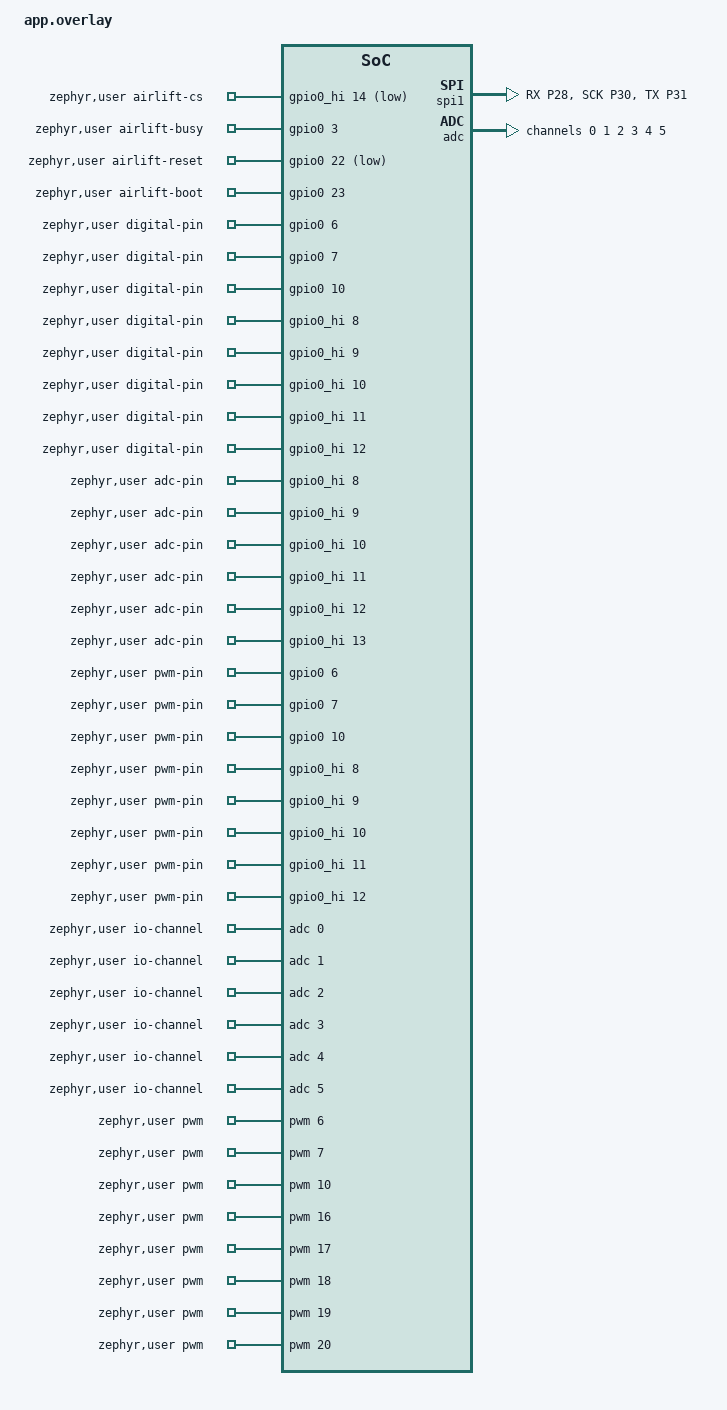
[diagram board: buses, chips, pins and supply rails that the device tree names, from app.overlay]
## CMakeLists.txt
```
# SPDX-License-Identifier: MIT
cmake_minimum_required(VERSION 3.28.0)
list(APPEND BOARD_ROOT "${CMAKE_CURRENT_SOURCE_DIR}/../zephyr")
find_package(Zephyr REQUIRED HINTS $ENV{ZEPHYR_BASE})
project(fruit_jam_smallvm LANGUAGES C CXX ASM)
if(NOT CONFIG_BOARD_ADAFRUIT_FRUIT_JAM_RP2350B_M33_0)
  message(FATAL_ERROR "This app is restricted to adafruit_fruit_jam/rp2350b/m33_0")
endif()
if(NOT SMALLVM_SOURCE_DIR OR NOT EXISTS "${SMALLVM_SOURCE_DIR}/provenance.json")
  message(FATAL_ERROR "Set SMALLVM_SOURCE_DIR to the verified v417 snapshot")
endif()
if(NOT FRUIT_JAM_ARDUINO_DIR OR NOT EXISTS "${FRUIT_JAM_ARDUINO_DIR}/fruitjam-provenance.json")
  message(FATAL_ERROR "Prepare the isolated Arduino module with tools/prepare_fruit_jam_arduino.py")
endif()
set(vm_root "${CMAKE_CURRENT_BINARY_DIR}/smallvm")
if(NOT IDE_SOURCE_DIR)
  message(FATAL_ERROR "Set IDE_SOURCE_DIR to the verified MicroBlocks 2.5.8 assets")
endif()
set(web_root "${CMAKE_CURRENT_BINARY_DIR}/web-fruit-jam")
# Optional verified touch-editor cache; no network access during packaging.
set(mobile_args)
if(MOBILE_EDITOR_SOURCE_DIR)
  list(APPEND mobile_args --mobile-source "${MOBILE_EDITOR_SOURCE_DIR}")
endif()
execute_process(COMMAND ${Python3_EXECUTABLE}
  ${CMAKE_CURRENT_SOURCE_DIR}/../../../tools/package_fruit_jam_ide.py
  ${IDE_SOURCE_DIR} ${web_root} ${mobile_args} COMMAND_ERROR_IS_FATAL ANY)
execute_process(COMMAND ${Python3_EXECUTABLE}
  ${CMAKE_CURRENT_SOURCE_DIR}/../../../tools/prepare_smallvm.py
  ${SMALLVM_SOURCE_DIR} ${vm_root} --strict-digital-arity
  COMMAND_ERROR_IS_FATAL ANY)
execute_process(COMMAND ${Python3_EXECUTABLE}
  ${CMAKE_CURRENT_SOURCE_DIR}/../../../tools/prepare_fruit_jam_runtime.py ${vm_root}
  COMMAND_ERROR_IS_FATAL ANY)
target_include_directories(app PRIVATE ${vm_root} ${vm_root}/vm src)
target_compile_definitions(app PRIVATE SMALLVM_ZEPHYR=1)
target_sources(app PRIVATE src/main.cpp src/platform.c src/transport.c
  src/io.cpp src/generic_primitives.c src/program_store.c src/sht4x.c src/pio_pixels.c
  src/airlift.c src/nina_protocol.c src/wifi_control.c
  src/nina_socket_protocol.c src/airlift_socket.c src/http_protocol.c src/network_server.c
  ${web_root}/assets.c ${web_root}/assets.S
  ${vm_root}/vm/interp.c ${vm_root}/vm/runtime.c ${vm_root}/vm/mem.c
  ${vm_root}/vm/persist.c ${vm_root}/vm/dataPrims.c ${vm_root}/vm/varPrims.c
  ${vm_root}/vm/tinyJSON.c ${vm_root}/vm/mbFont.c ${vm_root}/vm/boardHooks.c)
```

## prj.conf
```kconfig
CONFIG_ARDUINO_API=y
CONFIG_ARDUINO_ENTRY=n
CONFIG_CPP=y
CONFIG_REQUIRES_FULL_LIBC=y
CONFIG_GPIO=y
CONFIG_ADC=y
CONFIG_PWM=y
CONFIG_I2C=y
CONFIG_SPI=y
CONFIG_MAIN_STACK_SIZE=8192
CONFIG_HEAP_MEM_POOL_SIZE=16384
CONFIG_FLASH=y
CONFIG_FLASH_MAP=y
CONFIG_FLASH_PAGE_LAYOUT=y
CONFIG_CRC=y
CONFIG_SERIAL=y
CONFIG_UART_LINE_CTRL=y
CONFIG_USB_DEVICE_STACK_NEXT=y
CONFIG_CDC_ACM_SERIAL_INITIALIZE_AT_BOOT=y
CONFIG_CDC_ACM_SERIAL_PID=0x0004
CONFIG_CDC_ACM_SERIAL_PRODUCT_STRING="MicroBlocks Fruit Jam experimental"
# The binary VM stream has one owner. Diagnostics use debugger-visible status.
CONFIG_CONSOLE=n
CONFIG_UART_CONSOLE=n
CONFIG_PRINTK=n
CONFIG_LOG=n
CONFIG_SHELL=n
CONFIG_BOOT_BANNER=n
CONFIG_SYSTEM_WORKQUEUE_STACK_SIZE=2048
```

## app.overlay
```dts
/* SPDX-License-Identifier: MIT */
#include <zephyr/dt-bindings/adc/adc.h>
#include <zephyr/dt-bindings/pwm/pwm.h>
#include <zephyr/dt-bindings/gpio/gpio.h>
/ {
	zephyr,user {
		/* Factory AirLift only; manual CS allows its BUSY handshake before clocks. */
		airlift-cs-gpios = <&gpio0_hi 14 GPIO_ACTIVE_LOW>;
		airlift-busy-gpios = <&gpio0 3 GPIO_ACTIVE_HIGH>;
		airlift-reset-gpios = <&gpio0 22 GPIO_ACTIVE_LOW>;
		airlift-boot-gpios = <&gpio0 23 GPIO_ACTIVE_HIGH>;
		/* Safe extension D0..D8. High-bank GPIO40..45 use port-relative 8..13. */
		digital-pin-gpios = <&gpio0 6 0>, <&gpio0 7 0>, <&gpio0 10 0>,
			<&gpio0_hi 8 0>, <&gpio0_hi 9 0>, <&gpio0_hi 10 0>,
			<&gpio0_hi 11 0>, <&gpio0_hi 12 0>, <&gpio0_hi 13 0>;
		adc-pin-gpios = <&gpio0_hi 8 0>, <&gpio0_hi 9 0>, <&gpio0_hi 10 0>,
			<&gpio0_hi 11 0>, <&gpio0_hi 12 0>, <&gpio0_hi 13 0>;
		io-channels = <&adc 0>, <&adc 1>, <&adc 2>, <&adc 3>, <&adc 4>, <&adc 5>;
		pwm-pin-gpios = <&gpio0 6 0>, <&gpio0 7 0>, <&gpio0 10 0>,
			<&gpio0_hi 8 0>, <&gpio0_hi 9 0>, <&gpio0_hi 10 0>,
			<&gpio0_hi 11 0>, <&gpio0_hi 12 0>, <&gpio0_hi 13 0>;
		pwms = <&pwm 6 PWM_USEC(1000) PWM_POLARITY_NORMAL>,
			<&pwm 7 PWM_USEC(1000) PWM_POLARITY_NORMAL>,
			<&pwm 10 PWM_USEC(1000) PWM_POLARITY_NORMAL>,
			<&pwm 16 PWM_USEC(1000) PWM_POLARITY_NORMAL>,
			<&pwm 17 PWM_USEC(1000) PWM_POLARITY_NORMAL>,
			<&pwm 18 PWM_USEC(1000) PWM_POLARITY_NORMAL>,
			<&pwm 19 PWM_USEC(1000) PWM_POLARITY_NORMAL>,
			<&pwm 20 PWM_USEC(1000) PWM_POLARITY_NORMAL>,
			<&pwm 21 PWM_USEC(1000) PWM_POLARITY_NORMAL>;
	};
};
&pinctrl {
	airlift_spi1: airlift_spi1 {
		rx { pinmux = <SPI1_RX_P28>; input-enable; input-schmitt-enable; };
		tx-clock { pinmux = <SPI1_SCK_P30>, <SPI1_TX_P31>; };
	};
};
&spi1 {
	pinctrl-0 = <&airlift_spi1>;
	pinctrl-names = "default";
	status = "okay";
};
&zephyr_udc0 {
	mb_cdc: mb_cdc { compatible = "zephyr,cdc-acm-uart"; };
};
&adc {
	#address-cells = <1>;
	#size-cells = <0>;
	channel@0 { reg = <0>; zephyr,gain = "ADC_GAIN_1"; zephyr,reference = "ADC_REF_VDD_1"; zephyr,acquisition-time = <ADC_ACQ_TIME_DEFAULT>; zephyr,resolution = <12>; };
	channel@1 { reg = <1>; zephyr,gain = "ADC_GAIN_1"; zephyr,reference = "ADC_REF_VDD_1"; zephyr,acquisition-time = <ADC_ACQ_TIME_DEFAULT>; zephyr,resolution = <12>; };
	channel@2 { reg = <2>; zephyr,gain = "ADC_GAIN_1"; zephyr,reference = "ADC_REF_VDD_1"; zephyr,acquisition-time = <ADC_ACQ_TIME_DEFAULT>; zephyr,resolution = <12>; };
	channel@3 { reg = <3>; zephyr,gain = "ADC_GAIN_1"; zephyr,reference = "ADC_REF_VDD_1"; zephyr,acquisition-time = <ADC_ACQ_TIME_DEFAULT>; zephyr,resolution = <12>; };
	channel@4 { reg = <4>; zephyr,gain = "ADC_GAIN_1"; zephyr,reference = "ADC_REF_VDD_1"; zephyr,acquisition-time = <ADC_ACQ_TIME_DEFAULT>; zephyr,resolution = <12>; };
	channel@5 { reg = <5>; zephyr,gain = "ADC_GAIN_1"; zephyr,reference = "ADC_REF_VDD_1"; zephyr,acquisition-time = <ADC_ACQ_TIME_DEFAULT>; zephyr,resolution = <12>; };
};
```

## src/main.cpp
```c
// SPDX-License-Identifier: MPL-2.0
#include <Arduino.h>
#include "vm/interp.h"
#include "vm/persist.h"
#include "fruit_jam.h"

volatile int fruit_jam_status;

int main(void)
{
    hardwareInit();
    memInit();
    primsInit();
    fruit_jam_status = mb_store_load();
    restoreScripts();
    startAll();
    int err = fj_transport_init();
    if (err) { fruit_jam_status = err; return err; }
    for (;;) {
        fj_transport_poll();
        vmSlice(16);
        mb_store_poll();
        k_sleep(K_MSEC(1));
    }
}
```

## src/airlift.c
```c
/* SPDX-License-Identifier: MIT
 * Bounded AirLift identification and explicitly submitted WPA/DHCP setup.
 * Boot probes only retained identity/status/IP. No automatic join, scanning,
 * credential logging, UART or firmware upload.
 * Framing reference and notices: nina_protocol.c and LICENSES.md. */
#include "airlift.h"
#include "fruit_jam.h"
#include "nina_protocol.h"
#include "wifi_control.h"
#include <zephyr/device.h>
#include <zephyr/drivers/gpio.h>
#include <zephyr/drivers/spi.h>
#include <zephyr/kernel.h>
#include <errno.h>
#include <stdio.h>
#include <string.h>

#define AIRLIFT DT_PATH(zephyr_user)
static const struct device *const bus=DEVICE_DT_GET(DT_NODELABEL(spi1));
static const struct gpio_dt_spec cs=GPIO_DT_SPEC_GET(AIRLIFT,airlift_cs_gpios);
static const struct gpio_dt_spec busy=GPIO_DT_SPEC_GET(AIRLIFT,airlift_busy_gpios);
static const struct gpio_dt_spec reset=GPIO_DT_SPEC_GET(AIRLIFT,airlift_reset_gpios);
static const struct gpio_dt_spec boot=GPIO_DT_SPEC_GET(AIRLIFT,airlift_boot_gpios);
static const struct spi_config config={
    .frequency=1000000,.operation=SPI_OP_MODE_MASTER|SPI_WORD_SET(8)|SPI_TRANSFER_MSB,.slave=0,
};
K_MUTEX_DEFINE(state_lock);
K_MUTEX_DEFINE(spi_lock);
K_SEM_DEFINE(request_sem,0,1);
static struct {
    unsigned state,generation,queries,operation;
    int error,stage,busy_level,connection,disconnect_reason,reason_error;
    bool reset_requested;
    char version[32],mac[18];
    uint8_t ip[4],netmask[4],gateway[4];
} report;
static unsigned stale_error_recoveries;
static volatile uint32_t first_socket_failure;
uint32_t fj_airlift_socket_failure(void){return first_socket_failure;}
static struct { uint8_t ssid[32],key[64]; size_t sn,kn; } pending;

static int wait_busy_for(int level,unsigned timeout_ms)
{
    int64_t deadline=k_uptime_get()+timeout_ms;
    do {
        int actual=gpio_pin_get_dt(&busy);
        if(actual<0)return actual;
        if(actual==level)return 0;
        k_sleep(K_MSEC(1));
    }while(k_uptime_get()<deadline);
    return -ETIMEDOUT;
}
static int select_device_for(unsigned timeout_ms)
{
    int err=wait_busy_for(0,timeout_ms);
    if(err)return err;
    if((err=gpio_pin_set_dt(&cs,1)))return err;
    err=wait_busy_for(1,1000);
    if(err)gpio_pin_set_dt(&cs,0);
    return err;
}
static int select_device(void){return select_device_for(1000);}
static int read_byte(void *unused,uint8_t *value)
{
    (void)unused;
    uint8_t dummy=0;
    const struct spi_buf tx={.buf=&dummy,.len=1};
    struct spi_buf rx={.buf=value,.len=1};
    const struct spi_buf_set txs={.buffers=&tx,.count=1},rxs={.buffers=&rx,.count=1};
    return spi_transceive(bus,&config,&txs,&rxs);
}
static void retry_pause(void *unused){(void)unused;k_sleep(K_MSEC(10));}
static int read_bytes(void *unused,uint8_t *dst,size_t size)
{
    (void)unused;if(!size)return 0;
    struct spi_buf buffer={.buf=dst,.len=size};
    const struct spi_buf_set buffers={.buffers=&buffer,.count=1};
    return spi_read(bus,&config,&buffers);
}
static int exchange_unlocked(uint8_t command,uint8_t *frame,size_t count,
                    uint8_t **dst,const size_t *capacity,size_t *length,unsigned parameters)
{
    int err=select_device();
    if(!err){
        const struct spi_buf buffer={.buf=frame,.len=count};
        const struct spi_buf_set buffers={.buffers=&buffer,.count=1};
        uint8_t observed[4]={0};
        bool version_probe=command==0x37&&count==4;
        if(version_probe){
            struct spi_buf receive={.buf=observed,.len=sizeof(observed)};
            const struct spi_buf_set receives={.buffers=&receive,.count=1};
            err=spi_transceive(bus,&config,&buffers,&receives);
        }else err=spi_write(bus,&config,&buffers);
        int released=gpio_pin_set_dt(&cs,0);
        if(!err)err=released;
        /* Only a read-only version probe may recover an exact stale error
         * reply consumed during its request. No write or join is replayed. */
        if(!err&&version_probe&&!memcmp(observed,(uint8_t[]){0xef,0,0xee,0},4)){
            ++stale_error_recoveries;
            err=select_device();
            if(!err){
                err=spi_write(bus,&config,&buffers);
                released=gpio_pin_set_dt(&cs,0);if(!err)err=released;
            }
        }
    }
    /* A connect frame never survives the write or any error. */
    fj_secure_clear(frame,count);
    if(err)return err;
    if((err=select_device()))return err;
    const struct fj_nina_reader io={.byte=read_byte,.retry_pause=retry_pause};
    err=fj_nina_read_reply_params(&io,command,dst,capacity,length,parameters);
    int released=gpio_pin_set_dt(&cs,0);
    return err?err:released;
}
static int exchange(uint8_t command,uint8_t *frame,size_t count,
                    uint8_t **dst,const size_t *capacity,size_t *length,unsigned parameters)
{
    k_mutex_lock(&spi_lock,K_FOREVER);
    int err=exchange_unlocked(command,frame,count,dst,capacity,length,parameters);
    k_mutex_unlock(&spi_lock);return err;
}
int fj_airlift_socket_command(uint8_t command,const struct fj_nina_parameter *params,
                              unsigned count,uint8_t *dst,size_t capacity,size_t *length)
{
    uint8_t frame[2060];int n=fj_nina_socket_frame(command,params,count,frame,sizeof(frame));
    if(n<0)return n;
    k_mutex_lock(&spi_lock,K_FOREVER);
    unsigned phase=1;int err=select_device();
    if(!err){
        phase=2;
        const struct spi_buf buffer={.buf=frame,.len=n};
        const struct spi_buf_set buffers={.buffers=&buffer,.count=1};
        err=spi_write(bus,&config,&buffers);
        int released=gpio_pin_set_dt(&cs,0);if(!err)err=released;
    }
    if(!err){phase=3;err=select_device_for(command==0x44?10000:1000);}
    if(!err){
        phase=4;
        const struct fj_nina_reader io={.byte=read_byte,.bytes=read_bytes,.retry_pause=retry_pause};
        err=fj_nina_socket_reply(&io,command,dst,capacity,length);
        int released=gpio_pin_set_dt(&cs,0);
        if(!err&&released){phase=5;err=released;}
    }
    if(err){
        if(!first_socket_failure)first_socket_failure=((uint32_t)(-err&255)<<16)|((uint32_t)command<<8)|phase;
        /* Restore framing with read-only probes, never replay a write/read
         * whose effects may already have occurred on the remote socket. */
        for(unsigned attempt=0;attempt<2;++attempt){
            uint8_t probe[]={0xe0,0x37,0,0xee},version[31];
            uint8_t *dest[]={version};const size_t cap[]={sizeof(version)};size_t got=0;
            if(!exchange_unlocked(0x37,probe,sizeof(probe),dest,cap,&got,1))break;
        }
    }
    k_mutex_unlock(&spi_lock);return err;
}
static int query(uint8_t command,uint8_t *dst,size_t capacity,size_t *length)
{
    uint8_t frame[8];int n=fj_nina_query_frame(command,frame,sizeof(frame));
    if(n<0)return n;
    uint8_t *destinations[]={dst};
    return exchange(command,frame,n,destinations,&capacity,length,1);
}
static int query_ip(uint8_t ip[4],uint8_t netmask[4],uint8_t gateway[4])
{
    uint8_t frame[8];int n=fj_nina_query_frame(0x21,frame,sizeof(frame));
    if(n<0)return n;
    uint8_t *dst[]={ip,netmask,gateway};const size_t capacity[]={4,4,4};size_t lengths[3]={0};
    int err=exchange(0x21,frame,n,dst,capacity,lengths,3);
    if(!err&&(lengths[0]!=4||lengths[1]!=4||lengths[2]!=4))err=-EPROTO;
    return err;
}
static bool valid_ip(const uint8_t ip[4])
{
    return ip[0]>0&&ip[0]<224&&ip[0]!=127&&!(ip[0]==169&&ip[1]==254);
}
static int prepare(bool reset_first)
{
    if(!device_is_ready(bus)||!gpio_is_ready_dt(&cs)||!gpio_is_ready_dt(&busy))return -ENODEV;
    int err=gpio_pin_configure_dt(&cs,GPIO_OUTPUT_INACTIVE);
    if(err)return err;
    if((err=gpio_pin_configure_dt(&busy,GPIO_INPUT)))return err;
    if(!reset_first)return 0;
    if(!gpio_is_ready_dt(&reset)||!gpio_is_ready_dt(&boot))return -ENODEV;
    /* C6 BOOT9 is GPIO23, shared with codec GPIO1: input only.
     * GPIO0 is RP2350 USBBOOT. Shared reset requires an idle codec. */
    if((err=gpio_pin_configure_dt(&boot,GPIO_INPUT|GPIO_PULL_UP)))return err;
    if((err=gpio_pin_configure_dt(&reset,GPIO_OUTPUT_INACTIVE)))return err;
    if((err=gpio_pin_set_dt(&reset,1)))return err;
    k_sleep(K_MSEC(10));
    if((err=gpio_pin_set_dt(&reset,0)))return err;
    k_sleep(K_MSEC(750));return 0;
}
static void publish_progress(int stage,int connection,unsigned queries)
{
    k_mutex_lock(&state_lock,K_FOREVER);
    report.stage=stage;report.connection=connection;report.queries=queries;
    k_mutex_unlock(&state_lock);
}
static void diagnostic_worker(void *a,void *b,void *c)
{
    (void)a;(void)b;(void)c;
    bool boot_probe=true;unsigned boot_generation=0;
    for(;;){
        int request=k_sem_take(&request_sem,boot_probe?K_MSEC(boot_generation?2000:1250):K_FOREVER);
        if(request){
            k_mutex_lock(&state_lock,K_FOREVER);
            /* An explicit request wins, including one queued at this deadline.
             * Never replay a join or toggle the shared Wi-Fi/audio reset. */
            if(report.generation!=boot_generation||report.state==1||report.state==2){
                boot_probe=false;k_mutex_unlock(&state_lock);continue;
            }
            ++report.generation;report.state=1;report.error=0;report.stage=0;
            report.operation=0;report.reset_requested=false;
            k_mutex_unlock(&state_lock);
        }else boot_probe=false;
        uint8_t ssid[32]={0},key[64]={0};size_t sn=0,kn=0;
        k_mutex_lock(&state_lock,K_FOREVER);
        bool reset_first=report.reset_requested,join=report.operation==1;
        if(join){sn=pending.sn;kn=pending.kn;memcpy(ssid,pending.ssid,sn);memcpy(key,pending.key,kn);}
        fj_secure_clear(&pending,sizeof(pending));report.state=2;
        k_mutex_unlock(&state_lock);
        uint8_t data[31]={0},ip[4]={0},netmask[4]={0},gateway[4]={0};size_t count=0;
        if(!join&&!reset_first){
            k_mutex_lock(&state_lock,K_FOREVER);
            memcpy(ip,report.ip,4);memcpy(netmask,report.netmask,4);memcpy(gateway,report.gateway,4);
            k_mutex_unlock(&state_lock);
        }
        char version[32]={0},mac[18]={0};
        int stage=1,connection=-1,reason=-1,reason_error=0;unsigned queries=0;
        k_mutex_lock(&spi_lock,K_FOREVER);
        int err=prepare(reset_first);
        k_mutex_unlock(&spi_lock);
        if(!err){stage=2;err=query(0x37,data,sizeof(data),&count);}
        if(!err){
            ++queries;unsigned out=0;
            for(size_t i=0;i<count;++i){
                if(!data[i])continue;
                if(data[i]<32||data[i]>126||data[i]=='"'||data[i]=='\\'){err=-EPROTO;break;}
                version[out++]=data[i];
            }
            if(!out)err=-EPROTO;
        }
        if(!err){stage=3;err=query(0x22,data,6,&count);}
        if(!err&&count!=6)err=-EPROTO;
        if(!err){
            ++queries;
            /* NINA 3.3.0 copies canonical-order MAC bytes directly. */
            snprintf(mac,sizeof(mac),"%02x:%02x:%02x:%02x:%02x:%02x",data[0],data[1],data[2],data[3],data[4],data[5]);
            stage=4;err=query(0x20,data,1,&count);
        }
        if(!err&&count!=1)err=-EPROTO;
        if(!err){++queries;connection=data[0];}
        if(!err){
            reason_error=query(0x1f,data,1,&count);
            if(!reason_error&&count!=1)reason_error=-EPROTO;
            if(!reason_error){reason=data[0];++queries;}
        }
        if(!join&&!err&&connection==3){stage=7;err=query_ip(ip,netmask,gateway);++queries;}
        if(join&&!err){
            stage=5;publish_progress(stage,connection,queries);
            uint8_t frame[104]={0};
            int n=fj_nina_connect_frame(ssid,sn,key,kn,frame,sizeof(frame));
            fj_secure_clear(ssid,sizeof(ssid));fj_secure_clear(key,sizeof(key));sn=kn=0;
            if(n<0)err=n;
            else{
                uint8_t *dst[]={data};const size_t capacity[]={1};size_t length=0;
                err=exchange(0x11,frame,n,dst,capacity,&length,1);
                if(!err&&(length!=1||data[0]!=1))err=-EACCES;
            }
            fj_secure_clear(frame,sizeof(frame));
            int64_t deadline=k_uptime_get()+45000;
            while(!err&&k_uptime_get()<deadline){
                stage=6;err=query(0x20,data,1,&count);
                if(!err&&count!=1)err=-EPROTO;
                if(err)break;
                ++queries;connection=data[0];publish_progress(stage,connection,queries);
                if(connection==4){
                    reason_error=query(0x1f,data,1,&count);
                    if(!reason_error&&count!=1)reason_error=-EPROTO;
                    if(!reason_error){reason=data[0];++queries;}
                    err=-EACCES;break;
                }
                if(connection==3){
                    stage=7;err=query_ip(ip,netmask,gateway);++queries;
                    if(err||valid_ip(ip))break;
                }
                k_sleep(K_MSEC(250));
            }
            if(!err&&(connection!=3||!valid_ip(ip)))err=-ETIMEDOUT;
        }
        fj_secure_clear(ssid,sizeof(ssid));fj_secure_clear(key,sizeof(key));
        if(connection!=3){memset(ip,0,4);memset(netmask,0,4);memset(gateway,0,4);}
        k_mutex_lock(&spi_lock,K_FOREVER);
        if(gpio_is_ready_dt(&cs))gpio_pin_set_dt(&cs,0);
        int level=gpio_is_ready_dt(&busy)?gpio_pin_get_dt(&busy):-1;
        k_mutex_unlock(&spi_lock);
        k_mutex_lock(&state_lock,K_FOREVER);
        report.error=err;report.stage=stage;report.queries=queries;report.connection=connection;report.busy_level=level;
        report.disconnect_reason=reason;report.reason_error=reason_error;
        memcpy(report.version,version,sizeof(version));memcpy(report.mac,mac,sizeof(mac));
        memcpy(report.ip,ip,4);memcpy(report.netmask,netmask,4);memcpy(report.gateway,gateway,4);
        report.state=err?4:3;
        boot_generation=report.generation;
        boot_probe=boot_probe&&err&&boot_generation==1;
        k_mutex_unlock(&state_lock);
    }
}
K_THREAD_DEFINE(airlift_diagnostic_thread,3072,diagnostic_worker,NULL,NULL,NULL,7,0,0);
int fj_airlift_request(bool reset_first)
{
    k_mutex_lock(&state_lock,K_FOREVER);
    if(report.state==1||report.state==2){k_mutex_unlock(&state_lock);return -EBUSY;}
    ++report.generation;report.state=1;report.error=0;report.stage=0;report.operation=0;
    report.reset_requested=reset_first;k_mutex_unlock(&state_lock);k_sem_give(&request_sem);return 0;
}
int fj_airlift_join(const uint8_t *ssid,size_t sn,const uint8_t *key,size_t kn)
{
    int err=fj_wifi_credentials_valid(ssid,sn,key,kn);if(err)return err;
    k_mutex_lock(&state_lock,K_FOREVER);
    if(report.state==1||report.state==2){k_mutex_unlock(&state_lock);return -EBUSY;}
    fj_secure_clear(&pending,sizeof(pending));memcpy(pending.ssid,ssid,sn);memcpy(pending.key,key,kn);pending.sn=sn;pending.kn=kn;
    ++report.generation;report.state=1;report.error=0;report.stage=0;report.operation=1;report.reset_requested=false;
    memset(report.ip,0,4);memset(report.netmask,0,4);memset(report.gateway,0,4);
    k_mutex_unlock(&state_lock);k_sem_give(&request_sem);return 0;
}
int fj_airlift_status(char *dst,unsigned size)
{
    k_mutex_lock(&state_lock,K_FOREVER);
    int n=snprintf(dst,size,
      "{\"setup_protocol\":1,\"state\":%u,\"generation\":%u,\"operation\":%u,\"error\":%d,\"stage\":%d,\"queries\":%u,"
      "\"version\":\"%s\",\"mac\":\"%s\",\"connection\":%d,\"disconnect_reason\":%d,\"reason_error\":%d,\"spi_resync\":%u,\"busy\":%d,\"reset_requested\":%s,\"spi_hz\":1000000,\"coprocessor_flashed\":false,"
      "\"network_ready\":%s,\"ip\":\"%u.%u.%u.%u\",\"netmask\":\"%u.%u.%u.%u\",\"gateway\":\"%u.%u.%u.%u\"}",
      report.state,report.generation,report.operation,report.error,report.stage,report.queries,report.version,report.mac,
      report.connection,report.disconnect_reason,report.reason_error,stale_error_recoveries,report.busy_level,report.reset_requested?"true":"false",
      report.state==3&&report.connection==3&&valid_ip(report.ip)?"true":"false",
      report.ip[0],report.ip[1],report.ip[2],report.ip[3],report.netmask[0],report.netmask[1],report.netmask[2],report.netmask[3],
      report.gateway[0],report.gateway[1],report.gateway[2],report.gateway[3]);
    k_mutex_unlock(&state_lock);return n<0||(unsigned)n>=size?-ENOSPC:0;
}
bool fj_airlift_network_ready(char *ip,unsigned size)
{
    k_mutex_lock(&state_lock,K_FOREVER);
    bool ready=report.state==3&&report.connection==3&&valid_ip(report.ip);
    if(ip&&size)snprintf(ip,size,"%u.%u.%u.%u",report.ip[0],report.ip[1],report.ip[2],report.ip[3]);
    k_mutex_unlock(&state_lock);return ready;
}
```

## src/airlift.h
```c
/* SPDX-License-Identifier: MIT */
#pragma once
#include <stdbool.h>
#include <stddef.h>
#include <stdint.h>
#include "nina_socket_protocol.h"
/* Boot probes retained identity/status/IP; join/reset require explicit requests. */
int fj_airlift_request(bool reset_first);
int fj_airlift_status(char *dst, unsigned size);
int fj_airlift_join(const uint8_t *ssid, size_t ssid_length,
                    const uint8_t *key, size_t key_length);
bool fj_airlift_network_ready(char *ip, unsigned size);
int fj_airlift_socket_command(uint8_t command,const struct fj_nina_parameter *params,
                              unsigned count,uint8_t *dst,size_t capacity,size_t *length);

uint32_t fj_airlift_socket_failure(void);
```

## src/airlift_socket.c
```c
/* SPDX-License-Identifier: MIT */
#include "airlift_socket.h"
#include "airlift.h"
#include <errno.h>
#include <stdio.h>
static volatile unsigned last_command,last_count,commands;
static volatile int protocol_error;

static int scalar(uint8_t cmd,const struct fj_nina_parameter *p,unsigned n,unsigned bytes)
{
    uint8_t data[2]={0};size_t length=0;
    last_command=cmd;++commands;
    int err=fj_airlift_socket_command(cmd,p,n,data,bytes,&length);
    if(err){protocol_error=err;return err;}
    if(length!=bytes){protocol_error=-EPROTO;return -EPROTO;}
    int value=bytes==1?data[0]:data[0]|((unsigned)data[1]<<8);
    last_count=value;return value;
}
int fj_socket_awake(void)
{
    uint8_t mode=0;const struct fj_nina_parameter p={&mode,1};
    int n=scalar(0x17,&p,1,1);return n==1?0:n<0?n:-EIO;
}
int fj_socket_allocate(void){int n=scalar(0x3f,NULL,0,1);return n==255?-ENFILE:n>=6?-EPROTO:n;}
int fj_socket_listen(uint8_t socket,uint16_t port)
{
    uint8_t service[]={port>>8,port},mode=0;
    const struct fj_nina_parameter p[]={{service,2},{&socket,1},{&mode,1}};
    int n=scalar(0x28,p,3,1);return n==1?0:n<0?n:-EIO;
}
int fj_socket_accept(uint8_t listener)
{
    uint8_t accept=1;const struct fj_nina_parameter p[]={{&listener,1},{&accept,1}};
    int n=scalar(0x2b,p,2,2);return n==255||n==65535?-EAGAIN:n>=6?-EPROTO:n;
}
int fj_socket_available(uint8_t socket){const struct fj_nina_parameter p={&socket,1};return scalar(0x2b,&p,1,2);}
int fj_socket_state(uint8_t socket){const struct fj_nina_parameter p={&socket,1};return scalar(0x2f,&p,1,1);}
int fj_socket_server_state(uint8_t socket){const struct fj_nina_parameter p={&socket,1};return scalar(0x29,&p,1,1);}
int fj_socket_close(uint8_t socket){const struct fj_nina_parameter p={&socket,1};int n=scalar(0x2e,&p,1,1);return n==1?0:n<0?n:-EIO;}
int fj_socket_read(uint8_t socket,uint8_t *dst,size_t size)
{
    if(!size||size>2048)return -EINVAL;
    uint8_t count[]={size,size>>8};const struct fj_nina_parameter p[]={{&socket,1},{count,2}};
    size_t got=0;int err=fj_airlift_socket_command(0x45,p,2,dst,size,&got);
    last_command=0x45;++commands;last_count=got;if(err)protocol_error=err;
    return err?err:(int)got;
}
int fj_socket_status(char *dst,unsigned size)
{
    unsigned first=fj_airlift_socket_failure();
    int n=snprintf(dst,size,"{\"commands\":%u,\"last_command\":%u,\"last_count\":%u,\"protocol_error\":%d,\"first_error\":%d,\"first_command\":%u,\"first_phase\":%u}",commands,last_command,last_count,protocol_error,-(int)(first>>16),(first>>8)&255,first&255);
    return n<0||(unsigned)n>=size?-ENOSPC:0;
}
int fj_socket_write(uint8_t socket,const uint8_t *src,size_t size)
{
    if(!size||size>2048)return -EINVAL;
    const struct fj_nina_parameter p[]={{&socket,1},{src,size}};
    int n=scalar(0x44,p,2,2);return n>(int)size?-EPROTO:n;
}
```

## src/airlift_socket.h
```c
/* SPDX-License-Identifier: MIT */
#pragma once
#include <stdint.h>
#include <stddef.h>
int fj_socket_awake(void);
int fj_socket_allocate(void);
int fj_socket_listen(uint8_t socket,uint16_t port);
int fj_socket_accept(uint8_t listener);
int fj_socket_available(uint8_t socket);
int fj_socket_state(uint8_t socket);
int fj_socket_server_state(uint8_t socket);
int fj_socket_read(uint8_t socket,uint8_t *dst,size_t size);
int fj_socket_write(uint8_t socket,const uint8_t *src,size_t size);
int fj_socket_close(uint8_t socket);
int fj_socket_status(char *dst,unsigned size);
```

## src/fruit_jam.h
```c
/* SPDX-License-Identifier: MIT */
#pragma once
#include <stdint.h>
#include <stdbool.h>
#ifdef __cplusplus
extern "C" {
#endif
int fj_transport_init(void);
void fj_transport_poll(void);
bool fj_transport_connected(void);
void fj_io_init(void);
int fj_button(unsigned button);
int mb_store_load(void);
void mb_store_poll(void);
unsigned mb_store_generation(void);
/* Debugger-visible state. Nothing is printed into USB's VM byte stream. */
extern volatile int fruit_jam_status;
#ifdef __cplusplus
}
#endif
```

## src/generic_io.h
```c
/* SPDX-License-Identifier: MIT */
#pragma once
#include <stddef.h>
#include <stdint.h>
#include <stdbool.h>
#ifdef __cplusplus
extern "C" {
#endif
int fj_io_i2c_get(unsigned address, unsigned reg, uint8_t *value);
int fj_io_i2c_set(unsigned address, unsigned reg, uint8_t value);
int fj_io_i2c_read(unsigned address, uint8_t *data, size_t count);
int fj_io_i2c_write(unsigned address, const uint8_t *data, size_t count, bool stop);
int fj_io_i2c_exists(unsigned address);
void fj_io_i2c_cancel(void);
int fj_io_spi_setup(unsigned hz, unsigned mode, bool lsb);
int fj_io_spi_transfer(const uint8_t *tx, uint8_t *rx, size_t count);
int fj_io_analog_read(unsigned pin, unsigned mode, int *value);
int fj_io_pwm_write(unsigned pin, unsigned value);
void fj_io_pwm_stop(void);
void fj_io_prepare_gpio(unsigned pin);
int fj_io_info(char *dst, unsigned size);
#ifdef __cplusplus
}
#endif
```

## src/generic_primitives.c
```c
/* SPDX-License-Identifier: MPL-2.0 */
/* Adapted from the Waveshare port; board source remains independent.
 * Native opcode contracts follow the verified v417 ioPrims/sensorPrims.
 * Zephyr-facing operations are separate so this exact adapter can be tested
 * with the real 32-bit VM object representation and simulated drivers. */
#include "vm/interp.h"
#include "generic_io.h"
#include <string.h>

static OBJ i2c_failure(int error)
{
    fj_io_i2c_cancel();
    return fail(error);
}

OBJ primI2cGet(OBJ *args)
{
    fj_io_i2c_cancel();
    if (!isInt(args[0]) || !isInt(args[1])) return fail(needsIntegerError);
    int address=obj2int(args[0]), reg=obj2int(args[1]);
    if (address<0 || address>127) return fail(i2cDeviceIDOutOfRange);
    if (reg<0 || reg>255) return fail(i2cRegisterIDOutOfRange);
    uint8_t value;
    return fj_io_i2c_get(address,reg,&value) ? fail(i2cTransferFailed) : int2obj(value);
}

OBJ primI2cSet(OBJ *args)
{
    fj_io_i2c_cancel();
    if (!isInt(args[0]) || !isInt(args[1]) || !isInt(args[2])) return fail(needsIntegerError);
    int address=obj2int(args[0]), reg=obj2int(args[1]), value=obj2int(args[2]);
    if (address<0 || address>127) return fail(i2cDeviceIDOutOfRange);
    if (reg<0 || reg>255) return fail(i2cRegisterIDOutOfRange);
    if (value<0 || value>255) return fail(i2cValueOutOfRange);
    return fj_io_i2c_set(address,reg,value) ? fail(i2cTransferFailed) : falseObj;
}

OBJ primSPISend(OBJ *args)
{
    uint8_t byte;
    const uint8_t *data;
    size_t count;
    if (isInt(args[0])) {
        int value=obj2int(args[0]);
        if (value<0 || value>255) return fail(i2cValueOutOfRange);
        byte=value;data=&byte;count=1;
    } else if (IS_TYPE(args[0],ByteArrayType)) {
        data=(const uint8_t *)&FIELD(args[0],0);count=BYTES(args[0]);
        if (count>256) return fail(indexOutOfRangeError);
    } else return fail(needsIntegerError);
    if (!count) return falseObj;
    return fj_io_spi_transfer(data,NULL,count) ? fail(primitiveNotImplemented) : falseObj;
}

OBJ primSPIRecv(OBJ *args)
{
    (void)args;
    uint8_t zero=0, value;
    return fj_io_spi_transfer(&zero,&value,1) ? fail(primitiveNotImplemented) : int2obj(value);
}

OBJ primAnalogRead(int argc, OBJ *args)
{
    if (argc<1 || argc>2) return fail(notEnoughArguments);
    if (!isInt(args[0])) return fail(needsIntegerError);
    int pin=obj2int(args[0]);
    if (pin<0 || pin>5) return fail(badPinError);
    unsigned mode=0;
    if (argc==2) {
        if (args[1]==trueObj) mode=1;
        else if (IS_TYPE(args[1],StringType)) {
            if (!strcmp(obj2str(args[1]),"up")) mode=1;
            else if (!strcmp(obj2str(args[1]),"down")) mode=2;
        }
    }
    int value;
    return fj_io_analog_read(pin,mode,&value) ? fail(primitiveNotImplemented) : int2obj(value);
}

void primAnalogWrite(OBJ *args)
{
    if (!isInt(args[0]) || !isInt(args[1])) { fail(needsIntegerError);return; }
    if (obj2int(args[0])<0 || obj2int(args[0])>=9) { fail(badPinError);return; }
    int value=obj2int(args[1]);
    if (value<0) value=0;
    if (value>1023) value=1023;
    if (fj_io_pwm_write(obj2int(args[0]),value)) fail(primitiveNotImplemented);
}

static OBJ spi_setup(int argc, OBJ *args)
{
    if (argc<1 || argc>4) return fail(notEnoughArguments);
    if (!isInt(args[0]) || (argc>1 && !isInt(args[1])) || (argc>2 && !isInt(args[2])))
        return fail(needsIntegerError);
    int hz=obj2int(args[0]),mode=argc>1 ? obj2int(args[1]) : 0;
    if (hz<10000 || hz>8000000 || mode<0 || mode>3) return fail(indexOutOfRangeError);
    if (argc>2 && obj2int(args[2])!=0) return fail(badPinError);
    bool lsb=false;
    if (argc>3) {
        if (!IS_TYPE(args[3],StringType)) return fail(needsStringError);
        if (!strcmp(obj2str(args[3]),"LSB")) lsb=true;
        else if (strcmp(obj2str(args[3]),"MSB")) return fail(indexOutOfRangeError);
    }
    return fj_io_spi_setup(hz,mode,lsb) ? fail(primitiveNotImplemented) : falseObj;
}

static OBJ spi_exchange(int argc, OBJ *args)
{
    if (argc!=1) return fail(notEnoughArguments);
    if (!IS_TYPE(args[0],ByteArrayType)) return fail(needsByteArray);
    size_t count=BYTES(args[0]);
    if (count>256) return fail(indexOutOfRangeError);
    if (!count) return falseObj;
    uint8_t *data=(uint8_t *)&FIELD(args[0],0);
    return fj_io_spi_transfer(data,data,count) ? fail(primitiveNotImplemented) : falseObj;
}

/* List storage includes a tagged logical count followed by its elements. */
static int list_count(OBJ list)
{
    if (!WORDS(list) || !isInt(FIELD(list,0))) return -1;
    int count=obj2int(FIELD(list,0));
    return count<0 || count>=WORDS(list) ? -1 : count;
}

static OBJ i2c_exists(int argc, OBJ *args)
{
    fj_io_i2c_cancel();
    if (argc<1 || !isInt(args[0])) return falseObj;
    int address=obj2int(args[0]);
    if (address<0 || address>127) return falseObj;
    return fj_io_i2c_exists(address) ? falseObj : trueObj;
}

static OBJ i2c_read(int argc, OBJ *args)
{
    if (argc<2 || !isInt(args[0])) { fj_io_i2c_cancel();return zeroObj; }
    int address=obj2int(args[0]);
    if (address<0 || address>127) return i2c_failure(i2cDeviceIDOutOfRange);
    OBJ target=args[1];
    bool list=IS_TYPE(target,ListType);
    int count;
    if (list) count=list_count(target);
    else if (IS_TYPE(target,ByteArrayType)) count=BYTES(target);
    else return i2c_failure(needsByteArray);
    if (count<0) return i2c_failure(indexOutOfRangeError);
    if (!count) return zeroObj;
    if (count>32) count=32;
    uint8_t data[32];
    /* Preserve v417's bounded-count/255-fill contract on failed reads. */
    if (fj_io_i2c_read(address,data,count)) memset(data,255,count);
    if (list) {
        for (int i=0;i<count;++i) FIELD(target,i+1)=int2obj(data[i]);
    } else memcpy(&FIELD(target,0),data,count);
    return int2obj(count);
}

static OBJ i2c_write(int argc, OBJ *args)
{
    if (argc<2 || !isInt(args[0])) { fj_io_i2c_cancel();return zeroObj; }
    int address=obj2int(args[0]);
    if (address<0 || address>127) return i2c_failure(i2cDeviceIDOutOfRange);
    OBJ source=args[1];
    uint8_t data[32];
    int count;
    if (isInt(source)) {
        int value=obj2int(source);
        if (value<0 || value>255) return i2c_failure(i2cValueOutOfRange);
        data[0]=value;count=1;
    } else if (IS_TYPE(source,ListType)) {
        count=list_count(source);
        if (count<0 || count>32) return i2c_failure(indexOutOfRangeError);
        for (int i=0;i<count;++i) {
            OBJ item=FIELD(source,i+1);
            if (!isInt(item) || obj2int(item)<0 || obj2int(item)>255) return i2c_failure(i2cValueOutOfRange);
            data[i]=obj2int(item);
        }
    } else if (IS_TYPE(source,ByteArrayType) || IS_TYPE(source,StringType)) {
        count=IS_TYPE(source,ByteArrayType) ? BYTES(source) : strlen(obj2str(source));
        if (count>32) return i2c_failure(indexOutOfRangeError);
        memcpy(data,&FIELD(source,0),count);
    } else return i2c_failure(needsByteArray);
    if (!count) { fj_io_i2c_cancel();return falseObj; }
    bool stop=argc<3 || args[2]==trueObj;
    return fj_io_i2c_write(address,data,count,stop) ? i2c_failure(i2cTransferFailed) : falseObj;
}

static PrimEntry generic_sensor_entries[] = {
    {"spiSetup",spi_setup}, {"spiExchange",spi_exchange},
    {"i2cExists",i2c_exists}, {"i2cRead",i2c_read}, {"i2cWrite",i2c_write}
};

void addSensorPrims(void)
{
    addPrimitiveSet(SensorPrims,"sensors",sizeof(generic_sensor_entries)/sizeof(generic_sensor_entries[0]),generic_sensor_entries);
}
```

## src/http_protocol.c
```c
/* SPDX-License-Identifier: MIT */
#include "http_protocol.h"
#include <errno.h>
#include <string.h>
#include <strings.h>
#include <stdio.h>

static int copy_value(char *dst,size_t cap,char *src)
{
    while(*src==' '||*src=='\t')++src;
    size_t n=strlen(src);while(n&&(src[n-1]==' '||src[n-1]=='\t'))--n;
    if(!n||n>=cap||*dst)return -EPROTO;
    memcpy(dst,src,n);dst[n]=0;return 0;
}
static bool token(const char *value,const char *wanted)
{
    size_t n=strlen(wanted);
    while(*value){
        while(*value==' '||*value=='\t'||*value==',')++value;
        const char *end=strchr(value,',');if(!end)end=value+strlen(value);
        const char *trim=end;while(trim>value&&(trim[-1]==' '||trim[-1]=='\t'))--trim;
        if((size_t)(trim-value)==n&&!strncasecmp(value,wanted,n))return true;
        value=end;if(*value)++value;
    }
    return false;
}
static int base64_value(char c)
{
    const char *alphabet="ABCDEFGHIJKLMNOPQRSTUVWXYZabcdefghijklmnopqrstuvwxyz0123456789+/";
    const char *found=strchr(alphabet,c);return c&&found?(int)(found-alphabet):-1;
}
static bool valid_key(const char *key)
{
    if(strlen(key)!=24||key[22]!='='||key[23]!='=')return false;
    for(unsigned i=0;i<22;++i)if(base64_value(key[i])<0)return false;
    return !(base64_value(key[21])&15);
}
int fj_http_parse(char *data,size_t size,const char *ip,struct fj_http_request *out)
{
    if(!data||!out||!ip||size<4||size>2048||memcmp(data+size-4,"\r\n\r\n",4)||memchr(data,0,size))return -EPROTO;
    memset(out,0,sizeof(*out));data[size]=0;
    char *line=strstr(data,"\r\n");if(!line)return -EPROTO;*line=0;
    if(strncmp(data,"GET ",4))return -ENOTSUP;
    char *path=data+4,*space=strchr(path,' ');
    if(!space||strcmp(space," HTTP/1.1")||*path!='/')return -EPROTO;
    *space=0;char *query=strchr(path,'?');if(query)*query=0;
    if(!*path||strlen(path)>=sizeof(out->path))return -ENAMETOOLONG;
    /* Decode literal URL paths for flash-table lookup; never interpret a path
     * as a filesystem path. Reject encoded control characters. */
    size_t pos=0;
    for(size_t i=0;path[i];++i){
        unsigned c=(unsigned char)path[i];
        if(c=='%'){
            unsigned a,b;
            if(!path[i+1]||!path[i+2])return -EPROTO;
            char hex[3]={path[i+1],path[i+2],0};
            for(unsigned j=0;j<2;++j)if(!((hex[j]>='0'&&hex[j]<='9')||(hex[j]>='a'&&hex[j]<='f')||(hex[j]>='A'&&hex[j]<='F')))return -EPROTO;
            if(sscanf(hex,"%1x%1x",&a,&b)!=2)return -EPROTO;
            c=(a<<4)|b;i+=2;
        }
        if(c<32||c==127||c=='\\')return -EPROTO;
        out->path[pos++]=c;
    }
    out->path[pos]=0;
    char connection[128]={0},upgrade[32]={0},version[8]={0};
    for(char *p=line+2;*p;){
        char *end=strstr(p,"\r\n");if(!end)return -EPROTO;if(end==p)break;*end=0;
        char *colon=strchr(p,':');if(!colon||colon==p)return -EPROTO;*colon++=0;
        for(char *q=p;*q;++q)if(!((*q>='A'&&*q<='Z')||(*q>='a'&&*q<='z')||(*q>='0'&&*q<='9')||*q=='-'))return -EPROTO;
        for(char *q=colon;*q;++q)if(((unsigned char)*q<32&&*q!='\t')||(unsigned char)*q==127)return -EPROTO;
        int err=0;
        if(!strcasecmp(p,"Host"))err=copy_value(out->host,sizeof(out->host),colon);
        else if(!strcasecmp(p,"Origin"))err=copy_value(out->origin,sizeof(out->origin),colon);
        else if(!strcasecmp(p,"Connection"))err=copy_value(connection,sizeof(connection),colon);
        else if(!strcasecmp(p,"Upgrade"))err=copy_value(upgrade,sizeof(upgrade),colon);
        else if(!strcasecmp(p,"Sec-WebSocket-Key"))err=copy_value(out->key,sizeof(out->key),colon);
        else if(!strcasecmp(p,"Sec-WebSocket-Version"))err=copy_value(version,sizeof(version),colon);
        else if(!strcasecmp(p,"Transfer-Encoding")||!strcasecmp(p,"Content-Length"))return -EPROTO;
        if(err)return err;
        p=end+2;
    }
    char port_host[64];snprintf(port_host,sizeof(port_host),"%s:80",ip);
    if(strcmp(out->host,ip)&&strcmp(out->host,port_host))return -EACCES;
    out->websocket=!strcmp(out->path,"/ws/vm");
    if(out->websocket){
        char origin[96];snprintf(origin,sizeof(origin),"http://%s",out->host);
        if(strcmp(out->origin,origin)||strcasecmp(upgrade,"websocket")||!token(connection,"upgrade")||strcmp(version,"13")||!valid_key(out->key))return -EACCES;
    }else if(*upgrade||*out->key)return -EPROTO;
    return 0;
}
static uint32_t rol(uint32_t v,unsigned n){return (v<<n)|(v>>(32-n));}
int fj_ws_accept(const char key[25],char out[29])
{
    if(!valid_key(key))return -EINVAL;
    /* SHA-1 of the fixed 60-byte RFC6455 key+GUID. Two blocks, no heap. */
    uint8_t blocks[128]={0};memcpy(blocks,key,24);
    memcpy(blocks+24,"258EAFA5-E914-47DA-95CA-C5AB0DC85B11",36);blocks[60]=0x80;
    blocks[126]=1;blocks[127]=0xe0; /* 60 * 8 = 480 bits, big endian */
    uint32_t h[]={0x67452301,0xefcdab89,0x98badcfe,0x10325476,0xc3d2e1f0};
    for(unsigned block=0;block<2;++block){
        uint32_t w[80];
        for(unsigned i=0;i<16;++i){unsigned j=block*64+i*4;w[i]=((uint32_t)blocks[j]<<24)|((uint32_t)blocks[j+1]<<16)|((uint32_t)blocks[j+2]<<8)|blocks[j+3];}
        for(unsigned i=16;i<80;++i)w[i]=rol(w[i-3]^w[i-8]^w[i-14]^w[i-16],1);
        uint32_t a=h[0],b=h[1],c=h[2],d=h[3],e=h[4];
        for(unsigned i=0;i<80;++i){
            uint32_t f,k;
            if(i<20){f=(b&c)|(~b&d);k=0x5a827999;}
            else if(i<40){f=b^c^d;k=0x6ed9eba1;}
            else if(i<60){f=(b&c)|(b&d)|(c&d);k=0x8f1bbcdc;}
            else{f=b^c^d;k=0xca62c1d6;}
            uint32_t t=rol(a,5)+f+e+k+w[i];e=d;d=c;c=rol(b,30);b=a;a=t;
        }
        h[0]+=a;h[1]+=b;h[2]+=c;h[3]+=d;h[4]+=e;
    }
    uint8_t digest[20];for(unsigned i=0;i<20;++i)digest[i]=h[i/4]>>(24-8*(i%4));
    const char *alphabet="ABCDEFGHIJKLMNOPQRSTUVWXYZabcdefghijklmnopqrstuvwxyz0123456789+/";unsigned pos=0;
    for(unsigned i=0;i<20;i+=3){unsigned remain=20-i;uint32_t v=(uint32_t)digest[i]<<16;if(remain>1)v|=(uint32_t)digest[i+1]<<8;if(remain>2)v|=digest[i+2];
        out[pos++]=alphabet[(v>>18)&63];out[pos++]=alphabet[(v>>12)&63];out[pos++]=remain>1?alphabet[(v>>6)&63]:'=';out[pos++]=remain>2?alphabet[v&63]:'=';}
    out[pos]=0;return 0;
}
int fj_ws_decode(uint8_t *data,size_t size,uint8_t *opcode,bool *final,uint8_t **payload,size_t *length)
{
    if(size<2)return 0;
    unsigned op=data[0]&15;bool fin=data[0]&128;
    if((data[0]&112)||!(data[1]&128)||(op!=0&&op!=2&&op!=8&&op!=9&&op!=10))return -EPROTO;
    size_t n=data[1]&127,head=2;
    if(n==127)return -EMSGSIZE;
    if(n==126){if(size<4)return 0;n=((size_t)data[2]<<8)|data[3];head=4;if(n<126)return -EPROTO;}
    if(n>2048||(op>=8&&(!fin||n>125))||(op==8&&n==1))return -EMSGSIZE;
    if(size<head+4+n)return 0;
    for(size_t i=0;i<n;++i)data[head+4+i]^=data[head+i%4];
    *opcode=op;*final=fin;*payload=data+head+4;*length=n;return head+4+n;
}
size_t fj_ws_header(uint8_t *dst,unsigned opcode,size_t size)
{
    dst[0]=0x80|opcode;
    if(size<126){dst[1]=size;return 2;}
    dst[1]=126;dst[2]=size>>8;dst[3]=size;return 4;
}
```

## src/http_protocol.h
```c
/* SPDX-License-Identifier: MIT */
#pragma once
#include <stddef.h>
#include <stdint.h>
#include <stdbool.h>
struct fj_http_request {char path[256],host[64],origin[96],key[25];bool websocket;};
/* Parses one complete bounded GET header. No filesystem paths are opened. */
int fj_http_parse(char *data,size_t size,const char *ip,struct fj_http_request *out);
int fj_ws_accept(const char key[25],char out[29]);
/* 0=incomplete, negative=malformed, positive=consumed; payload unmasked in place. */
int fj_ws_decode(uint8_t *data,size_t size,uint8_t *opcode,bool *final,uint8_t **payload,size_t *length);
size_t fj_ws_header(uint8_t *dst,unsigned opcode,size_t size);
```

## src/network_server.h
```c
/* SPDX-License-Identifier: MIT */
#pragma once
#include <stddef.h>
#include <stdint.h>
#include <stdbool.h>
struct fj_web_asset {const char *path,*type;const uint8_t *data;size_t size;bool gzip;};
extern const struct fj_web_asset fj_web_assets[];
extern const unsigned fj_web_asset_count;
int fj_network_status(char *dst,unsigned size);
```
